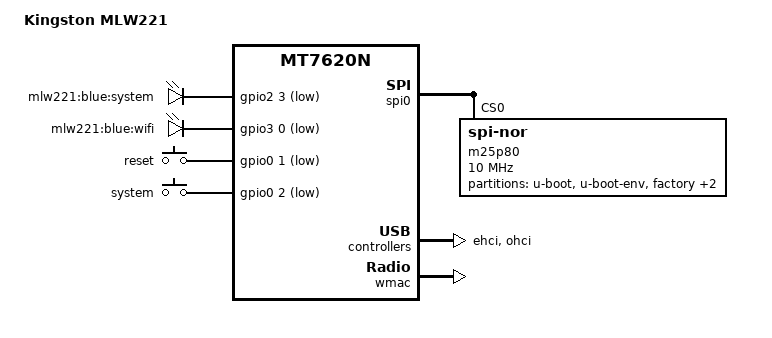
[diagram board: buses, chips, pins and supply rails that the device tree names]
/dts-v1/;

#include "mt7620n.dtsi"

#include <dt-bindings/gpio/gpio.h>
#include <dt-bindings/input/input.h>

/ {
	compatible = "kingston,mlw221", "ralink,mt7620n-soc";
	model = "Kingston MLW221";

	aliases {
		led-boot = &led_system;
		led-failsafe = &led_system;
		led-running = &led_system;
		led-upgrade = &led_system;
	};

	leds {
		compatible = "gpio-leds";

		led_system: system {
			label = "mlw221:blue:system";
			gpios = <&gpio2 3 GPIO_ACTIVE_LOW>;
		};

		wifi {
			label = "mlw221:blue:wifi";
			gpios = <&gpio3 0 GPIO_ACTIVE_LOW>;
		};
	};

	keys {
		compatible = "gpio-keys";

		reset {
			label = "reset";
			gpios = <&gpio0 1 GPIO_ACTIVE_LOW>;
			linux,code = <KEY_RESTART>;
		};

		system {
			label = "system";
			gpios = <&gpio0 2 GPIO_ACTIVE_LOW>;
			linux,code = <KEY_RFKILL>;
		};
	};
};

&gpio0 {
	status = "okay";
};

&gpio2 {
	status = "okay";
};

&gpio3 {
	status = "okay";
};

&spi0 {
	status = "okay";

	m25p80@0 {
		compatible = "jedec,spi-nor";
		reg = <0>;
		spi-max-frequency = <10000000>;

		partitions {
			compatible = "fixed-partitions";
			#address-cells = <1>;
			#size-cells = <1>;

			partition@0 {
				label = "u-boot";
				reg = <0x0 0x30000>;
				read-only;
			};

			partition@30000 {
				label = "u-boot-env";
				reg = <0x30000 0x10000>;
				read-only;
			};

			factory: partition@40000 {
				label = "factory";
				reg = <0x40000 0x10000>;
				read-only;
			};

			partition@50000 {
				compatible = "denx,uimage";
				label = "firmware";
				reg = <0x50000 0xf60000>;
			};

			partition@fb0000 {
				label = "user-config";
				reg = <0xfb0000 0x50000>;
			};
		};
	};
};

&ehci {
	status = "okay";
};

&ohci {
	status = "okay";
};

&ethernet {
	mtd-mac-address = <&factory 0x4>;
	mediatek,portmap = "wllll";
};

&wmac {
	ralink,mtd-eeprom = <&factory 0>;
};

&pinctrl {
	state_default: pinctrl0 {
		default {
			ralink,group = "i2c", "ephy", "wled";
			ralink,function = "gpio";
		};
	};
};
